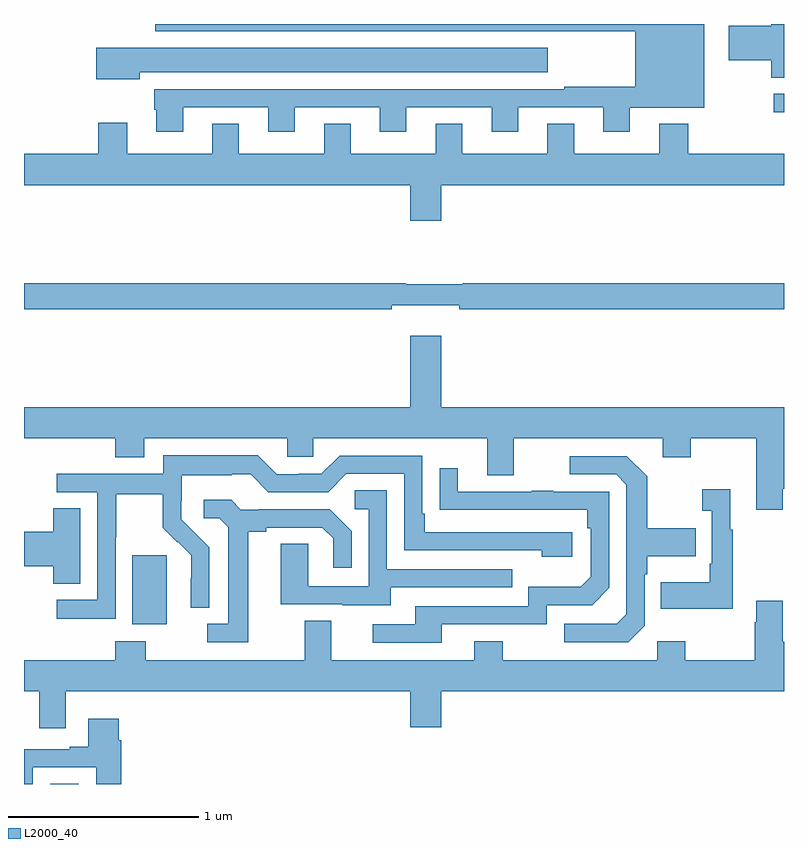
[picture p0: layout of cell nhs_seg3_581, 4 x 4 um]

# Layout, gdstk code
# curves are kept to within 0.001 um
import gdstk
lib = gdstk.Library(unit=1e-6, precision=1e-09)
def R(c, l, rs):  # rectangles x0, y0, x1, y1
    for r in rs: c.add(gdstk.rectangle(r[:2], r[2:], *l))
def P(c, l, *ps):  # polygons
    for p in ps: c.add(gdstk.Polygon(p, *l))
L2000_40 = (2000, 40)

nhs_seg3_581 = lib.new_cell('nhs_seg3_581')
R(nhs_seg3_581, L2000_40, [(139.139,728.4,139.288,728.402), (139.571,729.242,139.75,729.603), (142.947,731.935,143,732.033)])
P(nhs_seg3_581, L2000_40, [(143,732.4),(142.933,732.4),(142.933,732.392),(142.71,732.392),(142.71,732.209),(142.933,732.209),(142.933,732.118),(143,732.118)],
  [(139.837,731.961),(140.285,731.961),(140.285,731.832),(140.425,731.832),(140.425,731.961),(140.873,731.961),(140.873,731.832),(141.013,731.832),(141.013,731.961),(141.461,731.961),(141.461,731.832),(141.601,731.832),(141.601,731.961),(142.049,731.961),(142.049,731.832),(142.189,731.832),(142.189,731.96),(142.579,731.96),(142.579,732.4),(139.691,732.4),(139.691,732.362),(142.217,732.362),(142.217,732.07),(141.844,732.07),(141.844,732.057),(139.685,732.057),(139.685,731.949),(139.697,731.949),(139.697,731.832),(139.837,731.832)],
  [(139.609,732.146),(141.757,732.146),(141.757,732.274),(139.38,732.274),(139.38,732.11),(139.609,732.11)],
  [(141.196,731.552),(143,731.552),(143,731.716),(142.496,731.716),(142.496,731.875),(142.343,731.875),(142.343,731.716),(141.895,731.716),(141.895,731.876),(141.755,731.876),(141.755,731.716),(141.307,731.716),(141.307,731.876),(141.167,731.876),(141.167,731.716),(140.719,731.716),(140.719,731.876),(140.579,731.876),(140.579,731.716),(140.131,731.716),(140.131,731.876),(139.991,731.876),(139.991,731.716),(139.543,731.716),(139.543,731.881),(139.391,731.881),(139.391,731.716),(139,731.716),(139,731.552),(141.032,731.552),(141.032,731.364),(141.196,731.364)],
  [(140.936,730.919),(141.292,730.919),(141.292,730.9),(143,730.9),(143,731.036),(141.31,731.036),(141.31,731.029),(141.01,731.029),(141.01,731.036),(139,731.036),(139,730.9),(140.936,730.9)],
  [(142.993,729.955),(143,729.955),(143,730.384),(141.196,730.384),(141.196,730.759),(141.032,730.759),(141.032,730.384),(139,730.384),(139,730.22),(139.481,730.22),(139.481,730.121),(139.633,730.121),(139.633,730.22),(140.385,730.22),(140.385,730.122),(140.523,730.122),(140.523,730.22),(141.437,730.22),(141.437,730.026),(141.577,730.026),(141.577,730.22),(142.361,730.22),(142.361,730.121),(142.509,730.121),(142.509,730.22),(142.853,730.22),(142.853,729.843),(142.993,729.843)],
  [(139.482,729.7),(139.485,729.7),(139.485,729.924),(139.729,729.924),(139.729,729.749),(139.806,729.672),(139.809,729.675),(139.88,729.605),(139.88,729.482),(139.878,729.482),(139.878,729.328),(139.974,729.328),(139.974,729.646),(139.828,729.794),(139.828,729.891),(139.83,729.891),(139.83,730.025),(140.093,730.025),(140.093,730.029),(140.193,730.029),(140.286,729.936),(140.601,729.936),(140.697,730.032),(141,730.032),(141,729.63),(141.725,729.63),(141.725,729.596),(141.886,729.596),(141.886,729.726),(141.109,729.726),(141.109,729.823),(141.096,729.823),(141.096,730.128),(140.661,730.128),(140.565,730.032),(140.447,730.032),(140.447,730.029),(140.331,730.029),(140.231,730.129),(139.734,730.129),(139.734,730.032),(139.173,730.032),(139.173,729.936),(139.386,729.936),(139.386,729.369),(139.173,729.369),(139.173,729.271),(139.482,729.271)],
  [(142.266,729.234),(142.266,729.503),(142.279,729.503),(142.279,729.599),(142.535,729.599),(142.535,729.747),(142.279,729.747),(142.279,730.019),(142.173,730.125),(141.873,730.125),(141.873,730.029),(142.116,730.029),(142.17,729.975),(142.17,729.294),(142.119,729.243),(141.843,729.243),(141.843,729.147),(142.179,729.147)],
  [(141.199,729.24),(141.75,729.24),(141.75,729.342),(141.99,729.342),(142.08,729.432),(142.08,729.939),(141.785,729.939),(141.785,729.944),(141.673,729.944),(141.673,729.939),(141.283,729.939),(141.283,730.063),(141.187,730.063),(141.187,729.844),(141.964,729.843),(141.964,729.746),(141.984,729.746),(141.984,729.492),(141.931,729.439),(141.654,729.439),(141.654,729.336),(141.059,729.336),(141.059,729.24),(140.835,729.24),(140.835,729.144),(141.199,729.144)],
  [(142.729,729.739),(142.717,729.739),(142.717,729.952),(142.569,729.952),(142.569,729.839),(142.62,729.839),(142.62,729.559),(142.608,729.559),(142.608,729.463),(142.351,729.463),(142.351,729.323),(142.729,729.323)],
  [(140.929,729.435),(141.569,729.435),(141.569,729.531),(140.91,729.531),(140.91,729.947),(140.742,729.947),(140.742,729.846),(140.814,729.846),(140.814,729.441),(140.496,729.441),(140.496,729.665),(140.351,729.665),(140.351,729.345),(140.675,729.345),(140.675,729.341),(140.929,729.341)],
  [(140.179,729.728),(140.275,729.728),(140.275,729.75),(140.57,729.75),(140.627,729.693),(140.627,729.537),(140.724,729.537),(140.724,729.73),(140.608,729.846),(140.236,729.846),(140.236,729.843),(140.142,729.843),(140.09,729.895),(139.947,729.895),(139.947,729.798),(140.028,729.798),(140.075,729.751),(140.075,729.243),(139.965,729.243),(139.965,729.147),(140.179,729.147)],
  [(139.297,729.851),(139.154,729.851),(139.154,729.728),(139,729.728),(139,729.545),(139.154,729.545),(139.154,729.454),(139.297,729.454)],
  [(139.219,728.888),(141.032,728.888),(141.032,728.7),(141.196,728.7),(141.196,728.888),(143,728.888),(143,729.148),(142.993,729.148),(142.993,729.364),(142.853,729.364),(142.853,729.251),(142.846,729.251),(142.846,729.052),(142.479,729.052),(142.479,729.151),(142.332,729.151),(142.332,729.052),(141.519,729.052),(141.519,729.151),(141.371,729.151),(141.371,729.052),(140.617,729.052),(140.617,729.26),(140.477,729.26),(140.477,729.052),(139.641,729.052),(139.641,729.151),(139.481,729.151),(139.481,729.052),(139,729.052),(139,728.888),(139.079,728.888),(139.079,728.694),(139.219,728.694)],
  [(139.045,728.487),(139.379,728.487),(139.379,728.4),(139.511,728.4),(139.511,728.63),(139.498,728.63),(139.498,728.743),(139.337,728.743),(139.337,728.596),(139.241,728.596),(139.241,728.583),(139,728.583),(139,728.4),(139.045,728.4)])

lib.write_gds('nhs_seg3_581.gds')
